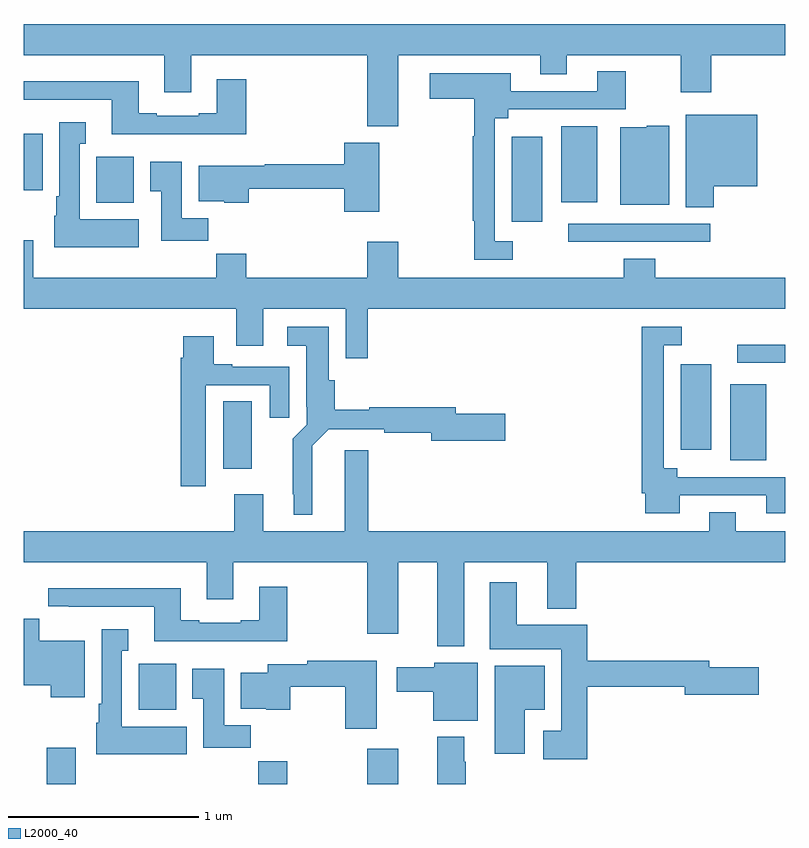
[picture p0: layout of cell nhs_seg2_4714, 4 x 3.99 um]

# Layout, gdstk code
import gdstk
lib = gdstk.Library(unit=1e-6, precision=1e-09)
def R(c, l, rs):  # rectangles x0, y0, x1, y1
    for r in rs: c.add(gdstk.rectangle(r[:2], r[2:], *l))
def P(c, l, *ps):  # polygons
    for p in ps: c.add(gdstk.Polygon(p, *l))
L2000_40 = (2000, 40)

nhs_seg2_4714 = lib.new_cell('nhs_seg2_4714')
R(nhs_seg2_4714, L2000_40, [(367.121,651.8,367.273,651.991), (368.233,651.8,368.385,651.92), (368.804,651.8,368.968,651.985), (367.604,652.19,367.801,652.432), (368.048,653.457,368.197,653.81), (370.712,653.501,370.9,653.899), (370.451,653.556,370.612,654.004), (370.749,654.012,371,654.108), (369.861,654.648,370.606,654.744), (369.563,654.753,369.724,655.201), (367.382,654.854,367.579,655.096), (369.824,654.857,370.012,655.255), (367,654.92,367.099,655.216)])
P(nhs_seg2_4714, L2000_40, [(368.968,655.628),(369.713,655.628),(369.713,655.529),(369.853,655.529),(369.853,655.628),(370.45,655.628),(370.45,655.434),(370.61,655.434),(370.61,655.628),(371,655.628),(371,655.792),(367,655.792),(367,655.628),(367.739,655.628),(367.739,655.434),(367.879,655.434),(367.879,655.628),(368.804,655.628),(368.804,655.254),(368.968,655.254)],
  [(369.568,654.651),(369.474,654.651),(369.474,655.298),(369.544,655.298),(369.544,655.344),(370.161,655.344),(370.161,655.543),(370.013,655.543),(370.013,655.44),(369.559,655.44),(369.559,655.534),(369.132,655.534),(369.132,655.4),(369.366,655.4),(369.366,655.202),(369.358,655.202),(369.358,654.758),(369.366,654.758),(369.366,654.555),(369.568,654.555)],
  [(368.168,655.501),(368.015,655.501),(368.015,655.324),(367.919,655.324),(367.919,655.311),(367.699,655.311),(367.699,655.324),(367.603,655.324),(367.603,655.492),(367,655.492),(367,655.395),(367.463,655.395),(367.463,655.214),(368.168,655.214)],
  [(370.625,654.941),(370.852,654.941),(370.852,655.315),(370.478,655.315),(370.478,654.829),(370.625,654.829)],
  [(367.603,654.766),(367.294,654.766),(367.294,655.163),(367.327,655.163),(367.327,655.276),(367.187,655.276),(367.187,654.886),(367.172,654.886),(367.172,654.786),(367.16,654.786),(367.16,654.62),(367.603,654.62)],
  [(370.39,655.258),(370.272,655.258),(370.272,655.249),(370.133,655.249),(370.133,654.842),(370.39,654.842)],
  [(368.867,655.168),(368.684,655.168),(368.684,655.055),(368.266,655.055),(368.266,655.048),(367.919,655.048),(367.919,654.86),(368.052,654.86),(368.052,654.854),(368.183,654.854),(368.183,654.927),(368.684,654.927),(368.684,654.807),(368.867,654.807)],
  [(367.97,654.772),(367.831,654.772),(367.831,655.069),(367.664,655.069),(367.664,654.913),(367.721,654.913),(367.721,654.654),(367.97,654.654)],
  [(368.011,654.584),(368.011,654.46),(367.051,654.46),(367.051,654.655),(367,654.655),(367,654.296),(368.117,654.296),(368.117,654.102),(368.257,654.102),(368.257,654.296),(368.691,654.296),(368.691,654.036),(368.807,654.036),(368.807,654.296),(371,654.296),(371,654.46),(370.316,654.46),(370.316,654.559),(370.151,654.559),(370.151,654.46),(368.968,654.46),(368.968,654.649),(368.804,654.649),(368.804,654.46),(368.168,654.46),(368.168,654.584)],
  [(368.515,653.576),(368.602,653.664),(368.893,653.664),(368.893,653.644),(369.14,653.644),(369.14,653.602),(369.529,653.602),(369.529,653.744),(369.268,653.744),(369.268,653.78),(368.816,653.78),(368.816,653.765),(368.633,653.765),(368.633,653.922),(368.602,653.922),(368.602,654.202),(368.385,654.202),(368.385,654.101),(368.483,654.101),(368.483,653.782),(368.487,653.782),(368.487,653.688),(368.413,653.614),(368.413,653.323),(368.417,653.323),(368.417,653.213),(368.515,653.213)],
  [(370.447,653.316),(370.901,653.316),(370.901,653.222),(371,653.222),(371,653.412),(370.432,653.412),(370.432,653.458),(370.362,653.458),(370.362,654.105),(370.456,654.105),(370.456,654.201),(370.246,654.201),(370.246,653.326),(370.265,653.326),(370.265,653.222),(370.447,653.222)],
  [(367.957,653.895),(368.291,653.895),(368.291,653.724),(368.395,653.724),(368.395,653.991),(368.095,653.991),(368.095,654.004),(367.999,654.004),(367.999,654.151),(367.838,654.151),(367.838,654.038),(367.826,654.038),(367.826,653.364),(367.957,653.364)],
  [(369.313,652.964),(369.749,652.964),(369.749,652.721),(369.902,652.721),(369.902,652.964),(371,652.964),(371,653.128),(370.741,653.128),(370.741,653.227),(370.601,653.227),(370.601,653.128),(368.81,653.128),(368.81,653.554),(368.687,653.554),(368.687,653.128),(368.257,653.128),(368.257,653.323),(368.105,653.323),(368.105,653.128),(367,653.128),(367,652.964),(367.961,652.964),(367.961,652.77),(368.101,652.77),(368.101,652.964),(368.804,652.964),(368.804,652.59),(368.968,652.59),(368.968,652.964),(369.173,652.964),(369.173,652.523),(369.313,652.523)],
  [(369.959,652.312),(370.472,652.312),(370.472,652.27),(370.861,652.27),(370.861,652.412),(370.6,652.412),(370.6,652.448),(369.959,652.448),(369.959,652.636),(369.589,652.636),(369.589,652.861),(369.449,652.861),(369.449,652.508),(369.824,652.508),(369.824,652.081),(369.729,652.081),(369.729,651.929),(369.959,651.929)],
  [(368.385,652.837),(368.237,652.837),(368.237,652.66),(368.141,652.66),(368.141,652.647),(367.921,652.647),(367.921,652.66),(367.825,652.66),(367.825,652.828),(367.128,652.828),(367.128,652.733),(367.237,652.733),(367.237,652.731),(367.685,652.731),(367.685,652.55),(368.385,652.55)],
  [(367.321,652.552),(367.081,652.552),(367.081,652.668),(367,652.668),(367,652.319),(367.142,652.319),(367.142,652.256),(367.321,652.256)],
  [(367.855,652.102),(367.516,652.102),(367.516,652.499),(367.549,652.499),(367.549,652.612),(367.409,652.612),(367.409,652.222),(367.394,652.222),(367.394,652.122),(367.382,652.122),(367.382,651.956),(367.855,651.956)],
  [(368.854,652.448),(368.488,652.448),(368.488,652.428),(368.282,652.428),(368.282,652.384),(368.141,652.384),(368.141,652.196),(368.274,652.196),(368.274,652.19),(368.4,652.19),(368.4,652.312),(368.689,652.312),(368.689,652.089),(368.854,652.089)],
  [(369.385,652.438),(369.156,652.438),(369.156,652.414),(368.958,652.414),(368.958,652.285),(369.152,652.285),(369.152,652.133),(369.385,652.133)],
  [(369.631,652.19),(369.736,652.19),(369.736,652.42),(369.473,652.42),(369.473,651.96),(369.631,651.96)],
  [(368.192,652.108),(368.053,652.108),(368.053,652.405),(367.886,652.405),(367.886,652.249),(367.943,652.249),(367.943,651.99),(368.192,651.99)],
  [(369.321,651.917),(369.313,651.917),(369.313,652.048),(369.173,652.048),(369.173,651.8),(369.321,651.8)])

lib.write_gds('nhs_seg2_4714.gds')
